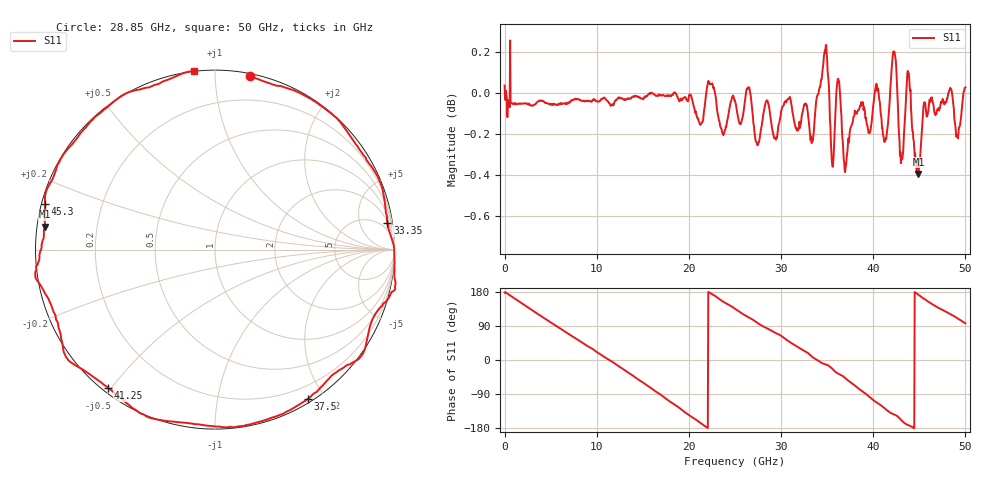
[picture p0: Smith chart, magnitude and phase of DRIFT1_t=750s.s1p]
!Created with skrf (http://scikit-rf.org).
# Hz S RI R 50.0
!freq ReS11 ImS11
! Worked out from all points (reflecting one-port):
!   1001 points, 300 kHz to 50 GHz, reference 50 ohm
!   lowest |S11| = -0.4 dB at 44.9 GHz (marker M1), VSWR 44.21, Z = 1.14 + j3.35 ohm
!   phase of S11 starts at 178 deg and turns -801 deg over the sweep
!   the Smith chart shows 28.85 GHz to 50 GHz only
!   S11 on the Smith chart (normalised r, x): 28.85 GHz: 0.02, +1.22; 33.35 GHz: 2, +13; 37.5 GHz: 0.04, -1.79; 41.25 GHz: 0.02, -0.49; 45.3 GHz: 0.01, +0.13; 50 GHz: -0.00, +0.89
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300000  -1.004 0.0356
1.75029e9  -0.8741 0.4736
3.600278e9  -0.5207 0.8481
6.250262e9  0.1773 0.9782
7.950252e9  0.5943 0.8
9.850241e9  0.9145 0.3937
1.250022e10  0.9454 -0.3184
1.400022e10  0.7354 -0.6748
1.59002e10  0.2698 -0.9631
1.72502e10  -0.1248 -0.991
1.875019e10  -0.5364 -0.8415
2.020018e10  -0.8549 -0.5167
2.200017e10  -1.004 -0.0257
2.500015e10  -0.7092 0.6991
2.660014e10  -0.3643 0.9331
2.885013e10  0.1927 0.9677
3.125011e10  0.7271 0.6701
3.33501e10  0.961 0.1496
3.500009e10  0.9916 -0.2335
3.750008e10  0.5159 -0.8332
3.910007e10  0.0377 -0.9885
4.125005e10  -0.5956 -0.7697
4.245005e10  -0.8419 -0.5728
4.375004e10  -1.001 -0.152
4.490003e10  -0.9472 0.1277
4.530003e10  -0.9471 0.2556
4.730002e10  -0.6993 0.7054
5e10  -0.1187 0.9961
